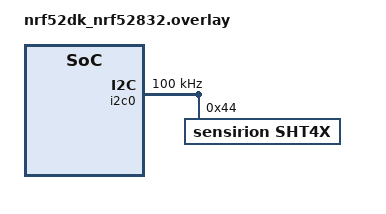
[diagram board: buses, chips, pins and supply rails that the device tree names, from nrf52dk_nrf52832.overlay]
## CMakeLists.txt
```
# SPDX-License-Identifier: Apache-2.0

cmake_minimum_required(VERSION 3.20.0)

find_package(Zephyr REQUIRED HINTS $ENV{ZEPHYR_BASE})
project(UI_CODE_ASHU)

target_sources(app PRIVATE src/main.c)
target_sources(app PRIVATE src/ui.c)
```

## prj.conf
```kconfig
CONFIG_REBOOT=y
CONFIG_SERIAL=y
CONFIG_UART_ASYNC_API=y
CONFIG_STDOUT_CONSOLE=y

# Required for temperature/humidity decimals
CONFIG_CBPRINTF_FP_SUPPORT=y

# Sensor and I2C Drivers
CONFIG_I2C=y
CONFIG_SENSOR=y
CONFIG_SHT4X=y
```

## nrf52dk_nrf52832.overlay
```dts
&i2c0 {
    compatible = "nordic,nrf-twim"; // Ensure this matches the I2C peripheral on your Nordic SoC
    status = "okay";
    clock-frequency = <I2C_BITRATE_STANDARD>; // Set the I2C bus speed to standard rate (100 kHz)

    sht4x@44 {  // Node for the SHT4x sensor with I2C address 0x44
        compatible = "sensirion,sht4x"; // SHT4x sensor compatible string
        reg = <0x44>;                   // I2C address of the SHT4x sensor
        label = "SHT4X";                // Optional label for the sensor
        status = "okay";                // Enable the sensor
        repeatability = <2>;            // Sensor repeatability setting (if applicable)
    };
};

/* for node */

// &pinctrl {
// 	uart0_default: uart0_default {
// 		group1 {
// 			psels = <NRF_PSEL(UART_TX, 0, 24)>, //6   for nrf52dk5832 / 5840
// 				<NRF_PSEL(UART_RX, 0, 23)>,   //8	  for nrf52dk5832
// 				<NRF_PSEL(UART_RTS, 0, 5)>,
// 				<NRF_PSEL(UART_CTS, 0, 7)>;
// 		};
// 	};

// 	uart0_sleep: uart0_sleep {
// 		group1 {
// 			psels = <NRF_PSEL(UART_TX, 0, 24)>,    //6
// 				<NRF_PSEL(UART_RX, 0, 23)>,        //8
// 				<NRF_PSEL(UART_RTS, 0, 5)>,
// 				<NRF_PSEL(UART_CTS, 0, 7)>;
// 			low-power-enable;
// 		};
// 	};
// 	i2c0_default: i2c0_default {
// 		group1 {
// 			psels = <NRF_PSEL(TWIM_SDA, 0, 26)>,  
// 				<NRF_PSEL(TWIM_SCL, 0, 25)>;      
// 		};
// 	};

// 	i2c0_sleep: i2c0_sleep {
// 		group1 {
// 			psels = <NRF_PSEL(TWIM_SDA, 0, 26)>,   
// 				<NRF_PSEL(TWIM_SCL, 0, 25)>;        
// 			low-power-enable;
// 		};
// 	};

	

// };
```

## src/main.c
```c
#include <zephyr/kernel.h>
#include <zephyr/drivers/sensor.h>
#include <zephyr/sys/printk.h>
#include "ui.h"

void main(void) {
    const struct device *const dev = DEVICE_DT_GET_ANY(sensirion_sht4x);
    
    if (ui_init() != 0) return;

   

    while (1) {
        if (dev != NULL && device_is_ready(dev)) {
            struct sensor_value temp, hum;
            if (sensor_sample_fetch(dev) == 0) {
                sensor_channel_get(dev, SENSOR_CHAN_AMBIENT_TEMP, &temp);
                sensor_channel_get(dev, SENSOR_CHAN_HUMIDITY, &hum);
                printk("SHT40:Temperature:%.2f°C, Humidity:%.2f%%\n",
                       sensor_value_to_float(&temp), sensor_value_to_float(&hum));
            }
        }

        int target_ms = ui_get_interval_ms();
        int elapsed_ms = 0;

        // Check for updates every 100ms while waiting for next reading
        while (elapsed_ms < target_ms) {
            if (ui_interval_changed()) {
                ui_clear_change_flag();
                break; // Restart loop with new interval immediately
            }
            k_msleep(100);
            elapsed_ms += 100;
        }
    }
}
```

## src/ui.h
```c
#ifndef _UI_H_
#define _UI_H_

#include <zephyr/kernel.h>

/* Parse input buffer and execute commands */
void ui_parse(const char *buf);

/* Get interval in milliseconds for periodic tasks */
int ui_get_interval_ms(void);

/* Initialize the UI module */
int ui_init(void);

#endif
```
